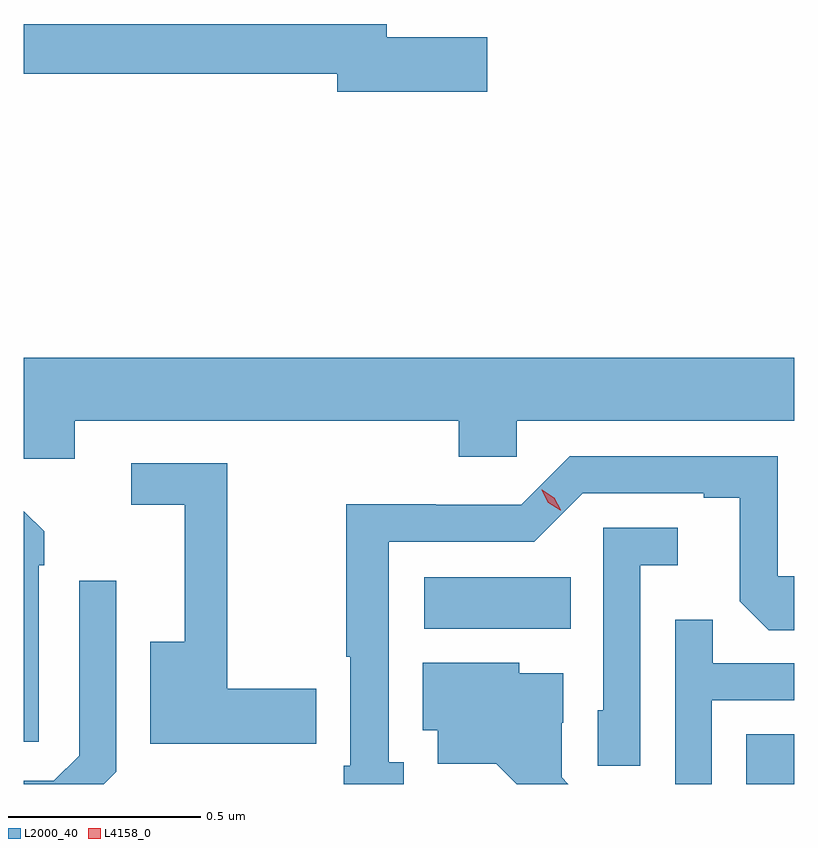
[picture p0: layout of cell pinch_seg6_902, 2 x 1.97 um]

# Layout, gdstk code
import gdstk
lib = gdstk.Library(unit=1e-6, precision=1e-09)
def R(c, l, rs):  # rectangles x0, y0, x1, y1
    for r in rs: c.add(gdstk.rectangle(r[:2], r[2:], *l))
def P(c, l, *ps):  # polygons
    for p in ps: c.add(gdstk.Polygon(p, *l))
L2000_40 = (2000, 40)
L4158_0 = (4158, 0)

pinch_seg6_902 = lib.new_cell('pinch_seg6_902')
R(pinch_seg6_902, L2000_40, [(138.878,981.025,139.002,981.154), (138.042,981.428,138.422,981.562)])
P(pinch_seg6_902, L2000_40, [(138.205,982.965),(137.944,982.965),(137.944,982.999),(137.002,982.999),(137.002,982.87),(137.816,982.87),(137.816,982.823),(138.205,982.823)],
  [(137.134,981.968),(138.131,981.968),(138.131,981.875),(138.282,981.875),(138.282,981.968),(139.002,981.968),(139.002,982.132),(137.002,982.132),(137.002,981.87),(137.134,981.87)],
  [(137.989,981.081),(137.95,981.081),(137.95,981.654),(138.327,981.654),(138.453,981.78),(138.767,981.78),(138.767,981.768),(138.861,981.768),(138.861,981.5),(138.937,981.424),(139.002,981.424),(139.002,981.564),(138.96,981.564),(138.96,981.876),(138.42,981.876),(138.294,981.75),(138.072,981.75),(138.072,981.752),(137.839,981.752),(137.839,981.355),(137.849,981.355),(137.849,981.073),(137.832,981.073),(137.832,981.025),(137.989,981.025)],
  [(137.761,981.272),(137.53,981.272),(137.53,981.858),(137.28,981.858),(137.28,981.75),(137.42,981.75),(137.42,981.394),(137.33,981.394),(137.33,981.13),(137.761,981.13)],
  [(137.04,981.593),(137.055,981.593),(137.055,981.681),(137.002,981.734),(137.002,981.135),(137.04,981.135)],
  [(138.603,981.593),(138.7,981.593),(138.7,981.69),(138.507,981.69),(138.507,981.216),(138.492,981.216),(138.492,981.073),(138.603,981.073)],
  [(137.241,981.057),(137.241,981.553),(137.145,981.553),(137.145,981.099),(137.079,981.033),(137.002,981.033),(137.002,981.025),(137.209,981.025)],
  [(138.789,981.243),(139.002,981.243),(139.002,981.339),(138.791,981.339),(138.791,981.452),(138.693,981.452),(138.693,981.025),(138.789,981.025)],
  [(138.399,981.042),(138.399,981.184),(138.403,981.184),(138.403,981.313),(138.288,981.313),(138.288,981.34),(138.038,981.34),(138.038,981.164),(138.077,981.164),(138.077,981.077),(138.229,981.077),(138.282,981.025),(138.416,981.025)])
P(pinch_seg6_902, L4158_0, [(138.395,981.736),(138.364,981.756),(138.347,981.788),(138.347,981.789),(138.348,981.789),(138.379,981.769),(138.396,981.737),(138.396,981.736)])

lib.write_gds('pinch_seg6_902.gds')
